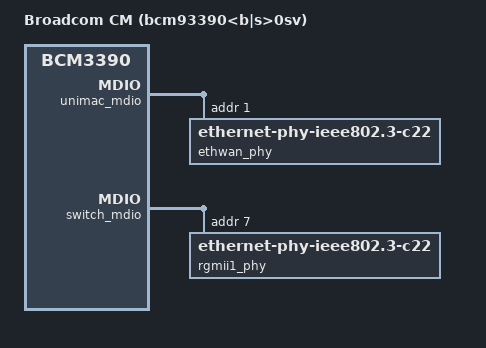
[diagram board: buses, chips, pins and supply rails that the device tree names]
/dts-v1/;

/ {
	model = "Broadcom CM (bcm93390<b|s>0sv)";
	compatible = "brcm,bcm93390b0sv", "brcm,bcm93390s0sv",
		     "brcm,bcm3390b0", "brcm,bcm3390s0",
		     "brcm,bcm3390",
		     "brcm,brcmcm", "brcm,brcmstb";
	subsystem = "rg";
	#address-cells = <0x2>;
	#size-cells = <0x2>;
	interrupt-parent = <&gic>;

	identifier@0 {
			    /* chip id    mfg id     a/c pwr    don't park */
		chipid_reg = < 0x20404000 0x204e6120 0x03800080 0x20410068 >;
		chipid_msk = < 0xffffffff 0x0000e000 0x00000000 0x00000001 >;
		chipid_val = < 0x33900010 0x0000c000 0x00000000 0x00000000 >;
			     /* SV   */
		boardid_msk = < 0xf0 >;
		boardid_val = < 0x10 >;
	};

	identifier@1 {
			    /* chip id    mfg id     a/c pwr    don't park */
		chipid_reg = < 0x20404000 0x204e6120 0x03800080 0x20410068 >;
		chipid_msk = < 0xffffffff 0x0000f000 0x00000000 0x00000001 >;
		chipid_val = < 0x33900010 0x00008000 0x00000000 0x00000000 >;
			     /* SV   */
		boardid_msk = < 0xf0 >;
		boardid_val = < 0x10 >;
	};

	identifier@2 {
			    /* chip id    mfg id     a/c pwr    don't park */
		chipid_reg = < 0x20404000 0x204e6120 0x03800080 0x20410068 >;
		chipid_msk = < 0xffffffff 0x0000e000 0x00000000 0x00000001 >;
		chipid_val = < 0x33900010 0x00006000 0x00000000 0x00000000 >;
			     /* SV   */
		boardid_msk = < 0xf0 >;
		boardid_val = < 0x10 >;
	};
};

/include/ "rg.3390b0-bolt.dtsi"
/include/ "rg.3390-base.dtsi"
/include/ "rg.3390b0-moca.dtsi"
/include/ "rg.3390-wifi.dtsi"
/include/ "rg.3390-ethwan.dtsi"

/********************************************************************
 * any nodes that appear below are platform specific additions and
 * replacements.
 * The dtc will add or replace any properties in the nodes
 * below to the same nodes that appear in include files above.
 * If the property does not exist in the node above it will be added.
 * If the property does exist it will replace it.
 ********************************************************************/
&mbox {
	override-bmu-state;
};

&unimac_mdio {
	ethwan_phy: phy@1 {
		/* BCM54610 C1 on SV */
		compatible = "ethernet-phy-ieee802.3-c22";
		reg = <1>;
	};
};

&switch_mdio {
	rgmii1_phy: phy@7 {
		/* BCM54810 C0 on SV */
		compatible = "ethernet-phy-ieee802.3-c22";
		reg = <7>;
	};
};

&vreg_wl0 {
	gpio = <&upg_gpio 80 0>;
};

&vreg_wl1_rf {
	gpio = <&upg_gpio 79 0>;
};

&vreg_wl0 {
	gpio = <&upg_gpio 80 0>;
};

&vreg_wl1_rf {
	gpio = <&upg_gpio 79 0>;
};

&vreg_wl2 {
	gpio = <&upg_gpio 80 0>;
};

&vreg_wl2_rf {
	gpio = <&upg_gpio 79 0>;
};

/ {
	chosen {
		filename = "rg.3390b0-sv.dtb";
	};
};
